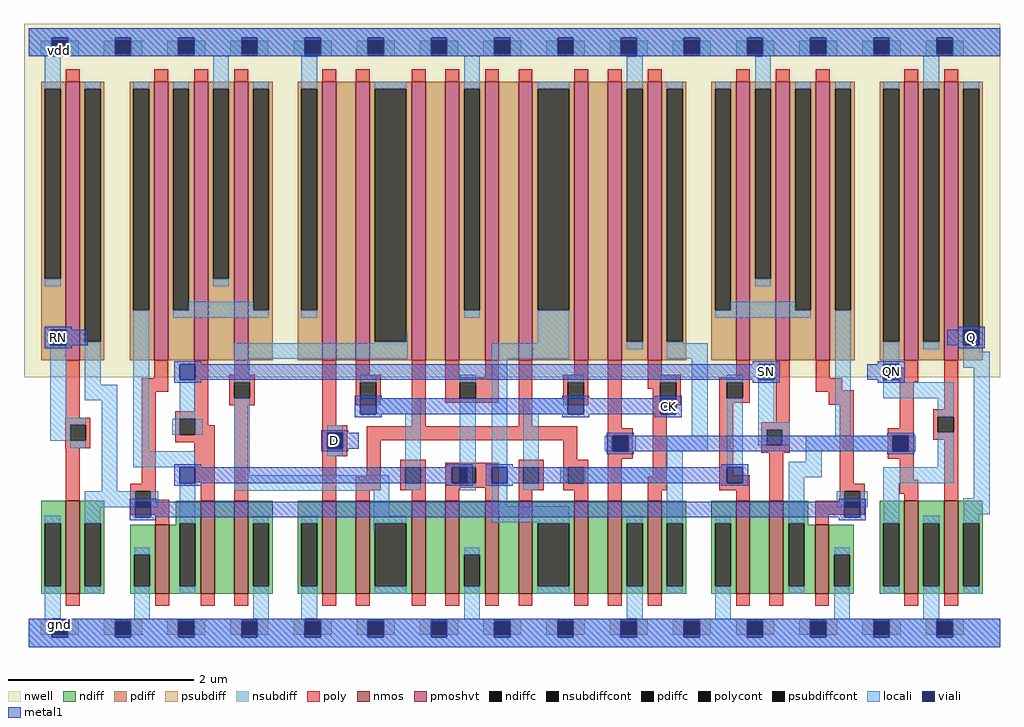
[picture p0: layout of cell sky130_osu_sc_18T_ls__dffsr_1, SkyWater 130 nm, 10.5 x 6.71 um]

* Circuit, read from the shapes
.subckt sky130_osu_sc_18T_ls__dffsr_1 D CK QN SN RN Q
XM1 n1 RN gnd gnd sky130_fd_pr__nfet_01v8 w=1 l=0.15
XM2 n2 n1 gnd gnd sky130_fd_pr__nfet_01v8 w=0.74 l=0.15
XM3 n3 SN n2 gnd sky130_fd_pr__nfet_01v8 w=1 l=0.15
XM4 gnd n4 n3 gnd sky130_fd_pr__nfet_01v8 w=1 l=0.15
XM5 n5 D gnd gnd sky130_fd_pr__nfet_01v8 w=1 l=0.15
XM6 n4 n6 n5 gnd sky130_fd_pr__nfet_01v8 w=1 l=0.15
XM7 n7 CK n4 gnd sky130_fd_pr__nfet_01v8 w=1 l=0.15
XM8 gnd n2 n7 gnd sky130_fd_pr__nfet_01v8 w=1 l=0.15
XM9 n8 n2 gnd gnd sky130_fd_pr__nfet_01v8 w=1 l=0.15
XM10 n9 CK n8 gnd sky130_fd_pr__nfet_01v8 w=1 l=0.15
XM11 n10 n6 n9 gnd sky130_fd_pr__nfet_01v8 w=1 l=0.15
XM12 gnd n11 n10 gnd sky130_fd_pr__nfet_01v8 w=1 l=0.15
XM13 n6 CK gnd gnd sky130_fd_pr__nfet_01v8 w=1 l=0.15
XM14 n12 n9 gnd gnd sky130_fd_pr__nfet_01v8 w=1 l=0.15
XM15 n11 SN n12 gnd sky130_fd_pr__nfet_01v8 w=1 l=0.15
XM16 gnd n1 n11 gnd sky130_fd_pr__nfet_01v8 w=0.74 l=0.15
XM17 gnd n11 QN gnd sky130_fd_pr__nfet_01v8 w=1 l=0.15
XM18 Q QN gnd gnd sky130_fd_pr__nfet_01v8 w=1 l=0.15
XM19 n1 RN vdd vdd sky130_fd_pr__pfet_01v8_hvt w=3 l=0.15
XM20 n13 n1 n2 vdd sky130_fd_pr__pfet_01v8_hvt w=3 l=0.15
XM21 vdd SN n13 vdd sky130_fd_pr__pfet_01v8_hvt w=3 l=0.15
XM22 n13 n4 vdd vdd sky130_fd_pr__pfet_01v8_hvt w=3 l=0.15
XM23 n14 D vdd vdd sky130_fd_pr__pfet_01v8_hvt w=3 l=0.15
XM24 n4 CK n14 vdd sky130_fd_pr__pfet_01v8_hvt w=3 l=0.15
XM25 n15 n6 n4 vdd sky130_fd_pr__pfet_01v8_hvt w=3 l=0.15
XM26 vdd n2 n15 vdd sky130_fd_pr__pfet_01v8_hvt w=3 l=0.15
XM27 n16 n2 vdd vdd sky130_fd_pr__pfet_01v8_hvt w=3 l=0.15
XM28 n9 n6 n16 vdd sky130_fd_pr__pfet_01v8_hvt w=3 l=0.15
XM29 n17 CK n9 vdd sky130_fd_pr__pfet_01v8_hvt w=3 l=0.15
XM30 vdd n11 n17 vdd sky130_fd_pr__pfet_01v8_hvt w=3 l=0.15
XM31 n6 CK vdd vdd sky130_fd_pr__pfet_01v8_hvt w=3 l=0.15
XM32 vdd n9 n18 vdd sky130_fd_pr__pfet_01v8_hvt w=3 l=0.15
XM33 n18 SN vdd vdd sky130_fd_pr__pfet_01v8_hvt w=3 l=0.15
XM34 n11 n1 n18 vdd sky130_fd_pr__pfet_01v8_hvt w=3 l=0.15
XM35 vdd n11 QN vdd sky130_fd_pr__pfet_01v8_hvt w=3 l=0.15
XM36 Q QN vdd vdd sky130_fd_pr__pfet_01v8_hvt w=3 l=0.15
.ends

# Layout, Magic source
magic
tech sky130A
magscale 1 2
<< nwell >>
rect -10 581 2090 1341
<< nmos >>
rect 80 115 110 315
rect 272 115 302 263
rect 370 115 400 315
rect 442 115 472 315
rect 632 115 662 315
rect 704 115 734 315
rect 824 115 854 315
rect 896 115 926 315
rect 982 115 1012 315
rect 1054 115 1084 315
rect 1174 115 1204 315
rect 1246 115 1276 315
rect 1332 115 1362 315
rect 1522 115 1552 315
rect 1594 115 1624 315
rect 1692 115 1722 263
rect 1884 115 1914 315
rect 1970 115 2000 315
<< pmoshvt >>
rect 80 617 110 1217
rect 270 617 300 1217
rect 356 617 386 1217
rect 442 617 472 1217
rect 632 617 662 1217
rect 704 617 734 1217
rect 824 617 854 1217
rect 896 617 926 1217
rect 982 617 1012 1217
rect 1054 617 1084 1217
rect 1174 617 1204 1217
rect 1246 617 1276 1217
rect 1332 617 1362 1217
rect 1522 617 1552 1217
rect 1608 617 1638 1217
rect 1694 617 1724 1217
rect 1884 617 1914 1217
rect 1970 617 2000 1217
<< ndiff >>
rect 27 267 80 315
rect 27 131 35 267
rect 69 131 80 267
rect 27 115 80 131
rect 110 267 163 315
rect 110 131 121 267
rect 155 131 163 267
rect 317 267 370 315
rect 317 263 325 267
rect 110 115 163 131
rect 219 199 272 263
rect 219 131 227 199
rect 261 131 272 199
rect 219 115 272 131
rect 302 131 325 263
rect 359 131 370 267
rect 302 115 370 131
rect 400 115 442 315
rect 472 267 525 315
rect 472 131 483 267
rect 517 131 525 267
rect 472 115 525 131
rect 579 267 632 315
rect 579 131 587 267
rect 621 131 632 267
rect 579 115 632 131
rect 662 115 704 315
rect 734 267 824 315
rect 734 131 745 267
rect 813 131 824 267
rect 734 115 824 131
rect 854 115 896 315
rect 926 199 982 315
rect 926 131 937 199
rect 971 131 982 199
rect 926 115 982 131
rect 1012 115 1054 315
rect 1084 267 1174 315
rect 1084 131 1095 267
rect 1163 131 1174 267
rect 1084 115 1174 131
rect 1204 115 1246 315
rect 1276 267 1332 315
rect 1276 131 1287 267
rect 1321 131 1332 267
rect 1276 115 1332 131
rect 1362 267 1415 315
rect 1362 131 1373 267
rect 1407 131 1415 267
rect 1362 115 1415 131
rect 1469 267 1522 315
rect 1469 131 1477 267
rect 1511 131 1522 267
rect 1469 115 1522 131
rect 1552 115 1594 315
rect 1624 267 1677 315
rect 1624 131 1635 267
rect 1669 263 1677 267
rect 1831 267 1884 315
rect 1669 131 1692 263
rect 1624 115 1692 131
rect 1722 199 1775 263
rect 1722 131 1733 199
rect 1767 131 1775 199
rect 1722 115 1775 131
rect 1831 131 1839 267
rect 1873 131 1884 267
rect 1831 115 1884 131
rect 1914 267 1970 315
rect 1914 131 1925 267
rect 1959 131 1970 267
rect 1914 115 1970 131
rect 2000 267 2053 315
rect 2000 131 2011 267
rect 2045 131 2053 267
rect 2000 115 2053 131
<< pdiff >>
rect 27 1201 80 1217
rect 27 793 35 1201
rect 69 793 80 1201
rect 27 617 80 793
rect 110 1201 163 1217
rect 110 657 121 1201
rect 155 657 163 1201
rect 110 617 163 657
rect 217 1201 270 1217
rect 217 725 225 1201
rect 259 725 270 1201
rect 217 617 270 725
rect 300 1201 356 1217
rect 300 725 311 1201
rect 345 725 356 1201
rect 300 617 356 725
rect 386 1201 442 1217
rect 386 793 397 1201
rect 431 793 442 1201
rect 386 617 442 793
rect 472 1201 525 1217
rect 472 725 483 1201
rect 517 725 525 1201
rect 472 617 525 725
rect 579 1201 632 1217
rect 579 725 587 1201
rect 621 725 632 1201
rect 579 617 632 725
rect 662 617 704 1217
rect 734 1201 824 1217
rect 734 657 745 1201
rect 813 657 824 1201
rect 734 617 824 657
rect 854 617 896 1217
rect 926 1201 982 1217
rect 926 725 937 1201
rect 971 725 982 1201
rect 926 617 982 725
rect 1012 617 1054 1217
rect 1084 1201 1174 1217
rect 1084 725 1095 1201
rect 1163 725 1174 1201
rect 1084 617 1174 725
rect 1204 617 1246 1217
rect 1276 1201 1332 1217
rect 1276 657 1287 1201
rect 1321 657 1332 1201
rect 1276 617 1332 657
rect 1362 1201 1415 1217
rect 1362 657 1373 1201
rect 1407 657 1415 1201
rect 1362 617 1415 657
rect 1469 1201 1522 1217
rect 1469 725 1477 1201
rect 1511 725 1522 1201
rect 1469 617 1522 725
rect 1552 1201 1608 1217
rect 1552 793 1563 1201
rect 1597 793 1608 1201
rect 1552 617 1608 793
rect 1638 1201 1694 1217
rect 1638 725 1649 1201
rect 1683 725 1694 1201
rect 1638 617 1694 725
rect 1724 1201 1777 1217
rect 1724 725 1735 1201
rect 1769 725 1777 1201
rect 1724 617 1777 725
rect 1831 1201 1884 1217
rect 1831 657 1839 1201
rect 1873 657 1884 1201
rect 1831 617 1884 657
rect 1914 1201 1970 1217
rect 1914 657 1925 1201
rect 1959 657 1970 1201
rect 1914 617 1970 657
rect 2000 1201 2053 1217
rect 2000 657 2011 1201
rect 2045 657 2053 1201
rect 2000 617 2053 657
<< ndiffc >>
rect 35 131 69 267
rect 121 131 155 267
rect 227 131 261 199
rect 325 131 359 267
rect 483 131 517 267
rect 587 131 621 267
rect 745 131 813 267
rect 937 131 971 199
rect 1095 131 1163 267
rect 1287 131 1321 267
rect 1373 131 1407 267
rect 1477 131 1511 267
rect 1635 131 1669 267
rect 1733 131 1767 199
rect 1839 131 1873 267
rect 1925 131 1959 267
rect 2011 131 2045 267
<< pdiffc >>
rect 35 793 69 1201
rect 121 657 155 1201
rect 225 725 259 1201
rect 311 725 345 1201
rect 397 793 431 1201
rect 483 725 517 1201
rect 587 725 621 1201
rect 745 657 813 1201
rect 937 725 971 1201
rect 1095 725 1163 1201
rect 1287 657 1321 1201
rect 1373 657 1407 1201
rect 1477 725 1511 1201
rect 1563 793 1597 1201
rect 1649 725 1683 1201
rect 1735 725 1769 1201
rect 1839 657 1873 1201
rect 1925 657 1959 1201
rect 2011 657 2045 1201
<< psubdiff >>
rect 26 27 50 61
rect 84 27 108 61
rect 162 27 186 61
rect 220 27 244 61
rect 298 27 322 61
rect 356 27 380 61
rect 434 27 458 61
rect 492 27 516 61
rect 570 27 594 61
rect 628 27 652 61
rect 706 27 730 61
rect 764 27 788 61
rect 842 27 866 61
rect 900 27 924 61
rect 978 27 1002 61
rect 1036 27 1060 61
rect 1114 27 1138 61
rect 1172 27 1196 61
rect 1250 27 1274 61
rect 1308 27 1332 61
rect 1386 27 1410 61
rect 1444 27 1468 61
rect 1522 27 1546 61
rect 1580 27 1604 61
rect 1658 27 1682 61
rect 1716 27 1740 61
rect 1794 27 1818 61
rect 1852 27 1876 61
rect 1930 27 1954 61
rect 1988 27 2012 61
<< nsubdiff >>
rect 26 1271 50 1305
rect 84 1271 108 1305
rect 162 1271 186 1305
rect 220 1271 244 1305
rect 298 1271 322 1305
rect 356 1271 380 1305
rect 434 1271 458 1305
rect 492 1271 516 1305
rect 570 1271 594 1305
rect 628 1271 652 1305
rect 706 1271 730 1305
rect 764 1271 788 1305
rect 842 1271 866 1305
rect 900 1271 924 1305
rect 978 1271 1002 1305
rect 1036 1271 1060 1305
rect 1114 1271 1138 1305
rect 1172 1271 1196 1305
rect 1250 1271 1274 1305
rect 1308 1271 1332 1305
rect 1386 1271 1410 1305
rect 1444 1271 1468 1305
rect 1522 1271 1546 1305
rect 1580 1271 1604 1305
rect 1658 1271 1682 1305
rect 1716 1271 1740 1305
rect 1794 1271 1818 1305
rect 1852 1271 1876 1305
rect 1930 1271 1954 1305
rect 1988 1271 2012 1305
<< psubdiffcont >>
rect 50 27 84 61
rect 186 27 220 61
rect 322 27 356 61
rect 458 27 492 61
rect 594 27 628 61
rect 730 27 764 61
rect 866 27 900 61
rect 1002 27 1036 61
rect 1138 27 1172 61
rect 1274 27 1308 61
rect 1410 27 1444 61
rect 1546 27 1580 61
rect 1682 27 1716 61
rect 1818 27 1852 61
rect 1954 27 1988 61
<< nsubdiffcont >>
rect 50 1271 84 1305
rect 186 1271 220 1305
rect 322 1271 356 1305
rect 458 1271 492 1305
rect 594 1271 628 1305
rect 730 1271 764 1305
rect 866 1271 900 1305
rect 1002 1271 1036 1305
rect 1138 1271 1172 1305
rect 1274 1271 1308 1305
rect 1410 1271 1444 1305
rect 1546 1271 1580 1305
rect 1682 1271 1716 1305
rect 1818 1271 1852 1305
rect 1954 1271 1988 1305
<< poly >>
rect 80 1217 110 1243
rect 270 1217 300 1243
rect 356 1217 386 1243
rect 442 1217 472 1243
rect 632 1217 662 1243
rect 704 1217 734 1243
rect 824 1217 854 1243
rect 896 1217 926 1243
rect 982 1217 1012 1243
rect 1054 1217 1084 1243
rect 1174 1217 1204 1243
rect 1246 1217 1276 1243
rect 1332 1217 1362 1243
rect 1522 1217 1552 1243
rect 1608 1217 1638 1243
rect 1694 1217 1724 1243
rect 1884 1217 1914 1243
rect 1970 1217 2000 1243
rect 80 494 110 617
rect 270 579 300 617
rect 243 549 300 579
rect 79 478 133 494
rect 79 444 89 478
rect 123 444 133 478
rect 79 428 133 444
rect 79 427 110 428
rect 80 315 110 427
rect 243 351 273 549
rect 356 507 386 617
rect 442 586 472 617
rect 432 570 486 586
rect 432 536 442 570
rect 476 536 486 570
rect 432 520 486 536
rect 315 491 386 507
rect 315 457 325 491
rect 359 477 386 491
rect 359 457 400 477
rect 315 441 400 457
rect 356 355 400 441
rect 219 335 273 351
rect 219 301 229 335
rect 263 317 273 335
rect 263 301 302 317
rect 370 315 400 355
rect 442 315 472 520
rect 632 477 662 617
rect 704 586 734 617
rect 704 570 758 586
rect 704 536 714 570
rect 748 536 758 570
rect 704 520 758 536
rect 632 461 686 477
rect 824 475 854 617
rect 896 580 926 617
rect 982 580 1012 617
rect 896 570 1012 580
rect 896 536 928 570
rect 962 536 1012 570
rect 896 526 1012 536
rect 1054 475 1084 617
rect 1174 586 1204 617
rect 1150 570 1204 586
rect 1150 536 1160 570
rect 1194 536 1204 570
rect 1150 520 1204 536
rect 632 427 642 461
rect 676 427 686 461
rect 632 411 686 427
rect 728 445 1180 475
rect 632 315 662 411
rect 728 367 758 445
rect 1150 403 1180 445
rect 1246 471 1276 617
rect 1332 586 1362 617
rect 1332 570 1403 586
rect 1522 580 1552 617
rect 1332 556 1359 570
rect 1343 536 1359 556
rect 1393 536 1403 570
rect 1343 520 1403 536
rect 1486 570 1552 580
rect 1486 536 1502 570
rect 1536 536 1552 570
rect 1486 526 1552 536
rect 1246 455 1300 471
rect 1246 421 1256 455
rect 1290 421 1300 455
rect 1246 405 1300 421
rect 704 337 758 367
rect 800 387 854 403
rect 800 353 810 387
rect 844 353 854 387
rect 800 337 854 353
rect 704 315 734 337
rect 824 315 854 337
rect 896 387 1012 397
rect 896 353 928 387
rect 962 353 1012 387
rect 896 343 1012 353
rect 896 315 926 343
rect 982 315 1012 343
rect 1054 387 1108 403
rect 1054 353 1064 387
rect 1098 353 1108 387
rect 1054 337 1108 353
rect 1150 387 1204 403
rect 1150 353 1160 387
rect 1194 353 1204 387
rect 1150 337 1204 353
rect 1054 315 1084 337
rect 1174 315 1204 337
rect 1246 315 1276 405
rect 1343 367 1373 520
rect 1332 337 1373 367
rect 1486 370 1516 526
rect 1608 484 1638 617
rect 1694 579 1724 617
rect 1884 601 1914 617
rect 1694 553 1751 579
rect 1874 571 1914 601
rect 1694 549 1775 553
rect 1721 521 1775 549
rect 1576 468 1638 484
rect 1576 434 1588 468
rect 1622 434 1638 468
rect 1576 418 1638 434
rect 1486 338 1552 370
rect 1332 315 1362 337
rect 1522 315 1552 338
rect 1594 315 1624 418
rect 1745 351 1775 521
rect 1874 471 1904 571
rect 1970 512 2000 617
rect 1849 455 1904 471
rect 1849 421 1859 455
rect 1893 421 1904 455
rect 1946 496 2000 512
rect 1946 462 1956 496
rect 1990 462 2000 496
rect 1946 446 2000 462
rect 1849 405 1904 421
rect 1874 360 1904 405
rect 1745 335 1799 351
rect 1745 315 1755 335
rect 219 285 302 301
rect 272 263 302 285
rect 1692 301 1755 315
rect 1789 301 1799 335
rect 1874 330 1914 360
rect 1884 315 1914 330
rect 1970 315 2000 446
rect 1692 285 1799 301
rect 1692 263 1722 285
rect 80 89 110 115
rect 272 89 302 115
rect 370 89 400 115
rect 442 89 472 115
rect 632 89 662 115
rect 704 89 734 115
rect 824 89 854 115
rect 896 89 926 115
rect 982 89 1012 115
rect 1054 89 1084 115
rect 1174 89 1204 115
rect 1246 89 1276 115
rect 1332 89 1362 115
rect 1522 89 1552 115
rect 1594 89 1624 115
rect 1692 89 1722 115
rect 1884 89 1914 115
rect 1970 89 2000 115
<< polycont >>
rect 89 444 123 478
rect 442 536 476 570
rect 325 457 359 491
rect 229 301 263 335
rect 714 536 748 570
rect 928 536 962 570
rect 1160 536 1194 570
rect 642 427 676 461
rect 1359 536 1393 570
rect 1502 536 1536 570
rect 1256 421 1290 455
rect 810 353 844 387
rect 928 353 962 387
rect 1064 353 1098 387
rect 1160 353 1194 387
rect 1588 434 1622 468
rect 1859 421 1893 455
rect 1956 462 1990 496
rect 1755 301 1789 335
<< locali >>
rect 0 1311 2090 1332
rect 0 1271 50 1311
rect 84 1271 186 1311
rect 220 1271 322 1311
rect 356 1271 458 1311
rect 492 1271 594 1311
rect 628 1271 730 1311
rect 764 1271 866 1311
rect 900 1271 1002 1311
rect 1036 1271 1138 1311
rect 1172 1271 1274 1311
rect 1308 1271 1410 1311
rect 1444 1271 1546 1311
rect 1580 1271 1682 1311
rect 1716 1271 1818 1311
rect 1852 1271 1954 1311
rect 1988 1271 2090 1311
rect 35 1201 69 1271
rect 35 777 69 793
rect 121 1201 155 1217
rect 47 494 81 649
rect 121 565 155 657
rect 225 1201 259 1217
rect 121 531 191 565
rect 47 478 123 494
rect 47 444 89 478
rect 89 428 123 444
rect 157 335 191 531
rect 225 421 259 725
rect 311 1201 345 1217
rect 397 1201 431 1271
rect 397 777 431 793
rect 483 1201 517 1217
rect 345 725 483 743
rect 311 709 517 725
rect 587 1201 621 1271
rect 587 709 621 725
rect 745 1201 813 1217
rect 937 1201 971 1271
rect 937 709 971 725
rect 1095 1201 1163 1217
rect 813 657 816 675
rect 745 654 816 657
rect 1095 654 1163 725
rect 442 620 816 654
rect 996 620 1163 654
rect 1287 1201 1321 1271
rect 1287 641 1321 657
rect 1373 1201 1407 1217
rect 1477 1201 1511 1217
rect 1563 1201 1597 1271
rect 1563 777 1597 793
rect 1649 1201 1683 1217
rect 1511 725 1649 743
rect 1477 709 1683 725
rect 1735 1201 1769 1217
rect 1373 654 1407 657
rect 1373 620 1461 654
rect 325 491 359 575
rect 442 570 476 620
rect 309 457 325 491
rect 359 457 375 491
rect 225 387 359 421
rect 121 301 229 335
rect 263 301 279 335
rect 35 267 69 283
rect 35 61 69 131
rect 121 267 155 301
rect 325 267 359 353
rect 442 370 476 536
rect 714 570 748 586
rect 714 535 748 536
rect 928 570 962 586
rect 748 501 844 535
rect 642 461 676 477
rect 642 411 676 427
rect 810 387 844 501
rect 928 387 962 536
rect 442 336 776 370
rect 810 337 844 353
rect 928 337 962 353
rect 996 387 1030 620
rect 1160 570 1194 586
rect 1160 535 1194 536
rect 742 283 776 336
rect 996 303 1030 353
rect 1064 501 1160 535
rect 1359 570 1393 586
rect 1359 535 1393 536
rect 1064 387 1098 501
rect 1427 455 1461 620
rect 1240 421 1256 455
rect 1290 421 1306 455
rect 1373 421 1461 455
rect 1502 570 1536 586
rect 1373 387 1407 421
rect 1144 353 1160 387
rect 1194 353 1407 387
rect 1502 387 1536 536
rect 1570 484 1604 575
rect 1570 468 1638 484
rect 1570 434 1588 468
rect 1622 434 1638 468
rect 1735 455 1769 725
rect 1839 1201 1873 1217
rect 1839 609 1873 657
rect 1925 1201 1959 1271
rect 1925 641 1959 657
rect 2011 1201 2045 1217
rect 2011 635 2045 649
rect 2011 601 2068 635
rect 1839 570 1873 575
rect 1839 536 1990 570
rect 1956 496 1990 536
rect 1672 421 1859 455
rect 1893 421 1909 455
rect 1672 399 1706 421
rect 1635 365 1706 399
rect 1956 387 1990 462
rect 1064 337 1098 353
rect 121 115 155 131
rect 227 199 261 215
rect 227 61 261 131
rect 325 115 359 131
rect 483 267 517 283
rect 483 61 517 131
rect 587 267 621 283
rect 742 267 813 283
rect 996 269 1163 303
rect 742 249 745 267
rect 587 61 621 131
rect 1095 267 1163 269
rect 745 115 813 131
rect 937 199 971 215
rect 937 61 971 131
rect 1095 115 1163 131
rect 1287 267 1321 283
rect 1287 61 1321 131
rect 1373 267 1407 353
rect 1373 115 1407 131
rect 1477 267 1511 283
rect 1477 61 1511 131
rect 1635 267 1669 365
rect 1839 353 1990 387
rect 1739 301 1755 335
rect 1789 301 1805 335
rect 1839 267 1873 353
rect 2034 320 2068 601
rect 2011 286 2068 320
rect 1635 115 1669 131
rect 1733 199 1767 215
rect 1733 61 1767 131
rect 1839 115 1873 131
rect 1925 267 1959 283
rect 1925 61 1959 131
rect 2011 267 2045 286
rect 2011 115 2045 131
rect 0 21 50 61
rect 84 21 186 61
rect 220 21 322 61
rect 356 21 458 61
rect 492 21 594 61
rect 628 21 730 61
rect 764 21 866 61
rect 900 21 1002 61
rect 1036 21 1138 61
rect 1172 21 1274 61
rect 1308 21 1410 61
rect 1444 21 1546 61
rect 1580 21 1682 61
rect 1716 21 1818 61
rect 1852 21 1954 61
rect 1988 21 2090 61
rect 0 0 2090 21
<< viali >>
rect 50 1305 84 1311
rect 50 1277 84 1305
rect 186 1305 220 1311
rect 186 1277 220 1305
rect 322 1305 356 1311
rect 322 1277 356 1305
rect 458 1305 492 1311
rect 458 1277 492 1305
rect 594 1305 628 1311
rect 594 1277 628 1305
rect 730 1305 764 1311
rect 730 1277 764 1305
rect 866 1305 900 1311
rect 866 1277 900 1305
rect 1002 1305 1036 1311
rect 1002 1277 1036 1305
rect 1138 1305 1172 1311
rect 1138 1277 1172 1305
rect 1274 1305 1308 1311
rect 1274 1277 1308 1305
rect 1410 1305 1444 1311
rect 1410 1277 1444 1305
rect 1546 1305 1580 1311
rect 1546 1277 1580 1305
rect 1682 1305 1716 1311
rect 1682 1277 1716 1305
rect 1818 1305 1852 1311
rect 1818 1277 1852 1305
rect 1954 1305 1988 1311
rect 1954 1277 1988 1305
rect 47 649 81 683
rect 325 575 359 609
rect 325 353 359 387
rect 229 301 263 313
rect 229 279 263 301
rect 714 501 748 535
rect 642 427 676 461
rect 910 353 928 387
rect 928 353 944 387
rect 996 353 1030 387
rect 1160 501 1194 535
rect 1359 501 1393 535
rect 1256 421 1290 455
rect 1570 575 1604 609
rect 2011 657 2045 683
rect 2011 649 2045 657
rect 1839 575 1873 609
rect 1859 421 1893 455
rect 1502 353 1536 387
rect 1755 301 1789 313
rect 1755 279 1789 301
rect 50 27 84 55
rect 50 21 84 27
rect 186 27 220 55
rect 186 21 220 27
rect 322 27 356 55
rect 322 21 356 27
rect 458 27 492 55
rect 458 21 492 27
rect 594 27 628 55
rect 594 21 628 27
rect 730 27 764 55
rect 730 21 764 27
rect 866 27 900 55
rect 866 21 900 27
rect 1002 27 1036 55
rect 1002 21 1036 27
rect 1138 27 1172 55
rect 1138 21 1172 27
rect 1274 27 1308 55
rect 1274 21 1308 27
rect 1410 27 1444 55
rect 1410 21 1444 27
rect 1546 27 1580 55
rect 1546 21 1580 27
rect 1682 27 1716 55
rect 1682 21 1716 27
rect 1818 27 1852 55
rect 1818 21 1852 27
rect 1954 27 1988 55
rect 1954 21 1988 27
<< metal1 >>
rect 0 1311 2090 1332
rect 0 1277 50 1311
rect 84 1277 186 1311
rect 220 1277 322 1311
rect 356 1277 458 1311
rect 492 1277 594 1311
rect 628 1277 730 1311
rect 764 1277 866 1311
rect 900 1277 1002 1311
rect 1036 1277 1138 1311
rect 1172 1277 1274 1311
rect 1308 1277 1410 1311
rect 1444 1277 1546 1311
rect 1580 1277 1682 1311
rect 1716 1277 1818 1311
rect 1852 1277 1954 1311
rect 1988 1277 2090 1311
rect 0 1271 2090 1277
rect 35 683 93 689
rect 1999 683 2057 689
rect 35 649 47 683
rect 81 649 127 683
rect 1977 649 2011 683
rect 2045 649 2057 683
rect 35 643 93 649
rect 1999 643 2057 649
rect 313 609 371 615
rect 1558 609 1616 615
rect 1827 609 1885 615
rect 313 575 325 609
rect 359 575 1570 609
rect 1604 575 1616 609
rect 1804 575 1839 609
rect 1873 575 1885 609
rect 313 569 371 575
rect 1558 569 1616 575
rect 1827 569 1885 575
rect 702 535 760 541
rect 1148 535 1206 541
rect 1347 535 1405 541
rect 702 501 714 535
rect 748 501 1160 535
rect 1194 501 1359 535
rect 1393 501 1405 535
rect 702 495 760 501
rect 1148 495 1206 501
rect 1347 495 1405 501
rect 630 461 688 467
rect 630 427 642 461
rect 676 427 710 461
rect 1244 455 1302 461
rect 1847 455 1905 461
rect 630 421 688 427
rect 1244 421 1256 455
rect 1290 421 1859 455
rect 1893 421 1905 455
rect 1244 415 1302 421
rect 1847 415 1905 421
rect 313 387 371 393
rect 898 387 956 393
rect 313 353 325 387
rect 359 353 910 387
rect 944 353 956 387
rect 313 347 371 353
rect 898 347 956 353
rect 984 387 1042 393
rect 1490 387 1548 393
rect 984 353 996 387
rect 1030 353 1502 387
rect 1536 353 1548 387
rect 984 347 1042 353
rect 1490 347 1548 353
rect 217 313 275 319
rect 1743 313 1801 319
rect 217 279 229 313
rect 263 279 1755 313
rect 1789 279 1801 313
rect 217 273 275 279
rect 1743 273 1801 279
rect 0 55 2090 61
rect 0 21 50 55
rect 84 21 186 55
rect 220 21 322 55
rect 356 21 458 55
rect 492 21 594 55
rect 628 21 730 55
rect 764 21 866 55
rect 900 21 1002 55
rect 1036 21 1138 55
rect 1172 21 1274 55
rect 1308 21 1410 55
rect 1444 21 1546 55
rect 1580 21 1682 55
rect 1716 21 1818 55
rect 1852 21 1954 55
rect 1988 21 2090 55
rect 0 0 2090 21
<< labels >>
rlabel metal1 659 444 659 444 1 D
port 1 n
rlabel metal1 1376 518 1376 518 1 CK
port 2 n
rlabel metal1 1857 592 1857 592 1 QN
port 3 n
rlabel metal1 1587 592 1587 592 1 SN
port 4 n
rlabel metal1 65 666 65 666 1 RN
port 5 n
rlabel metal1 2028 666 2028 666 1 Q
port 6 n
rlabel viali 67 48 67 48 1 gnd
rlabel viali 67 1284 67 1284 1 vdd
<< end >>
